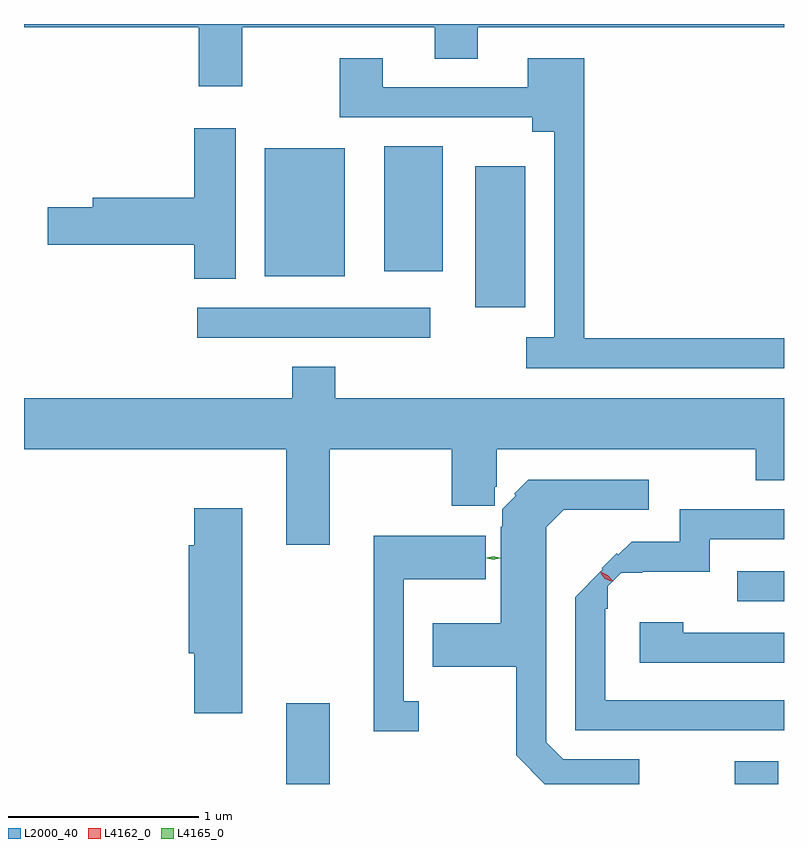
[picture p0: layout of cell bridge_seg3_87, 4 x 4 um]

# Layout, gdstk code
import gdstk
lib = gdstk.Library(unit=1e-6, precision=1e-09)
def R(c, l, rs):  # rectangles x0, y0, x1, y1
    for r in rs: c.add(gdstk.rectangle(r[:2], r[2:], *l))
def P(c, l, *ps):  # polygons
    for p in ps: c.add(gdstk.Polygon(p, *l))
L2000_40 = (2000, 40)
L4162_0 = (4162, 0)
L4165_0 = (4165, 0)

bridge_seg3_87 = lib.new_cell('bridge_seg3_87')
R(bridge_seg3_87, L2000_40, [(1138.561,1181.973,1138.789,1182.399), (1140.921,1181.973,1141.149,1182.094), (1140.933,1182.936,1141.18,1183.094), (1138.093,1184.321,1139.318,1184.479), (1139.556,1184.481,1139.819,1185.224), (1138.446,1184.646,1138.869,1185.319), (1139.076,1184.671,1139.384,1185.329)])
P(bridge_seg3_87, L2000_40, [(1138.329,1185.956),(1139.341,1185.956),(1139.341,1185.791),(1139.569,1185.791),(1139.569,1185.956),(1141.18,1185.956),(1141.18,1185.973),(1137.18,1185.973),(1137.18,1185.956),(1138.101,1185.956),(1138.101,1185.646),(1138.329,1185.646)],
  [(1141.18,1184.319),(1140.129,1184.319),(1140.129,1185.794),(1139.831,1185.794),(1139.831,1185.639),(1139.069,1185.639),(1139.069,1185.794),(1138.841,1185.794),(1138.841,1185.481),(1139.856,1185.481),(1139.856,1185.406),(1139.971,1185.406),(1139.971,1184.324),(1139.823,1184.324),(1139.823,1184.161),(1141.18,1184.161)],
  [(1138.294,1185.424),(1138.076,1185.424),(1138.076,1185.059),(1137.541,1185.059),(1137.541,1185.009),(1137.306,1185.009),(1137.306,1184.811),(1138.076,1184.811),(1138.076,1184.631),(1138.294,1184.631)],
  [(1138.789,1183.736),(1139.431,1183.736),(1139.431,1183.437),(1139.657,1183.437),(1139.657,1183.537),(1139.667,1183.537),(1139.667,1183.736),(1141.031,1183.736),(1141.031,1183.571),(1141.18,1183.571),(1141.18,1184.004),(1138.819,1184.004),(1138.819,1184.169),(1138.591,1184.169),(1138.591,1184.004),(1137.18,1184.004),(1137.18,1183.736),(1138.561,1183.736),(1138.561,1183.231),(1138.789,1183.231)],
  [(1140.418,1182.104),(1140.017,1182.104),(1139.929,1182.192),(1139.929,1183.324),(1140.022,1183.416),(1140.468,1183.416),(1140.468,1183.574),(1139.834,1183.574),(1139.76,1183.5),(1139.769,1183.491),(1139.698,1183.42),(1139.698,1183.326),(1139.69,1183.326),(1139.69,1182.819),(1139.331,1182.819),(1139.331,1182.591),(1139.771,1182.591),(1139.771,1182.124),(1139.922,1181.973),(1140.418,1181.973)],
  [(1138.329,1183.424),(1138.076,1183.424),(1138.076,1183.229),(1138.046,1183.229),(1138.046,1182.661),(1138.076,1182.661),(1138.076,1182.346),(1138.329,1182.346)],
  [(1141.18,1182.414),(1140.239,1182.414),(1140.239,1182.895),(1140.253,1182.895),(1140.253,1183.013),(1140.324,1183.084),(1140.435,1183.084),(1140.435,1183.091),(1140.789,1183.091),(1140.789,1183.261),(1141.18,1183.261),(1141.18,1183.419),(1140.631,1183.419),(1140.631,1183.249),(1140.378,1183.249),(1140.307,1183.179),(1140.299,1183.187),(1140.221,1183.109),(1140.227,1183.104),(1140.149,1183.026),(1140.151,1183.024),(1140.081,1182.955),(1140.081,1182.256),(1141.18,1182.256)],
  [(1139.258,1182.409),(1139.179,1182.409),(1139.179,1183.051),(1139.61,1183.051),(1139.61,1183.279),(1139.021,1183.279),(1139.021,1182.251),(1139.258,1182.251)],
  [(1141.18,1182.769),(1140.649,1182.769),(1140.649,1182.824),(1140.421,1182.824),(1140.421,1182.611),(1141.18,1182.611)])
P(bridge_seg3_87, L4162_0, [(1140.279,1183.039),(1140.241,1183.057),(1140.214,1183.09),(1140.214,1183.091),(1140.215,1183.091),(1140.253,1183.073),(1140.28,1183.04),(1140.28,1183.039)],
  [(1140.27,1183.04),(1140.237,1183.053),(1140.216,1183.081),(1140.216,1183.082),(1140.216,1183.082),(1140.25,1183.068),(1140.271,1183.04),(1140.271,1183.04)])
P(bridge_seg3_87, L4165_0, [(1139.65,1183.152),(1139.616,1183.162),(1139.615,1183.162),(1139.616,1183.163),(1139.65,1183.172),(1139.685,1183.163),(1139.686,1183.162),(1139.685,1183.162)],
  [(1139.65,1183.152),(1139.618,1183.162),(1139.617,1183.162),(1139.618,1183.163),(1139.65,1183.172),(1139.683,1183.163),(1139.684,1183.162),(1139.683,1183.162)])

lib.write_gds('bridge_seg3_87.gds')
